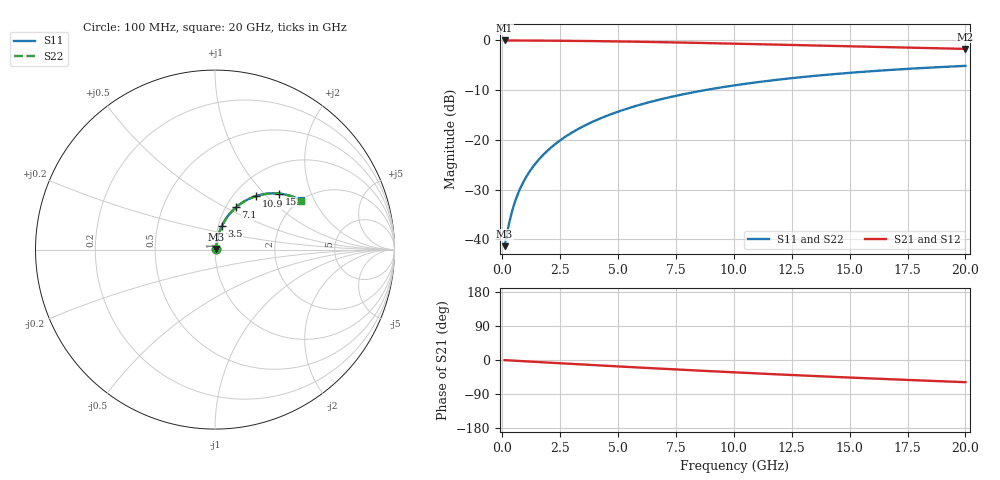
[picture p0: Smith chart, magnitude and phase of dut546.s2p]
! Touchstone file exported from HFSS 2026.1.0
!  File:  C:/ffzhzh/LocalFiles/Ansys_Project_Files/temp_train_TMRDL_546_1783007561_51716.aedt
!  Generated:  11:54:15 PM Jul  2, 2026
!  Design:  TMRDL
!  Project:  temp_train_TMRDL_546_1783007561_51716
! Variables:
!  h_bsmrdl = 2um
!  h_ox = 20um
!  h_rdl = 5um
!  h_sub = 80um
!  h_tmrdl = 3.15um
!  h_tsv = 80um
!  h_via = 3um
!  l_bsmrdl = 300um
!  l_sub = 1290.85um
!  l_tmrdl = 890.85um
!  m_sub = 200um
!  pitch = 40.29um
!  r_tsv = 6um
!  s_tmrdl = 10um
!  w_bsmrdl = 18um
!  w_sub = 500um
!  w_tmrdl = 13.4um
!  x_tsv_center1 = 897.55um
!  x_tsv_center2 = 1215.55um
!  x_tsv_center3 = 2119.8um
!  x_tsv_center4 = 2437.8um
!  x_tsv_center5 = 3342.05um
!  x_tsv_center6 = 3660.05um
# GHz S MA R 50.000000
! Terminal data exported
! Port[1] = TM_RDL1_1_T1
! Port[2] = TM_RDL1_1_T2
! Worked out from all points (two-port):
!   200 points, 100 MHz to 20 GHz, reference 50 ohm
!   highest |S21| = -0.07 dB at 100 MHz (marker M1); lowest = -1.8 dB at 20 GHz (marker M2)
!   |S21| within 3 dB of the highest: start of sweep to end of sweep
!   lowest |S11| = -41.4 dB at 100 MHz (marker M3), VSWR 1.02, Z = 50.8 + j0.423 ohm
!   |S11| at or under -10 dB: start of sweep to 8.796 GHz
!   |S22| runs from -41.4 to -5.2 dB; largest |S21 - S12| = 4.7e-15
!   S11 on the Smith chart (normalised r, x): 100 MHz: 1.02, +0.01; 3.5 GHz: 1.04, +0.28; 7.1 GHz: 1.11, +0.56; 10.9 GHz: 1.25, +0.87; 15.2 GHz: 1.51, +1.22; 20 GHz: 2.00, +1.58
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0.1  0.008557 29.1  0.9925 -0.4  0.9925 -0.4  0.008557 29.1
! Gamma 0 0 0 0
! Port Impedance 50 0 50 0
0.3  0.01469 57.2  0.9922 -1.1  0.9922 -1.1  0.01469 57.2
0.4  0.01834 63.1  0.992 -1.4  0.992 -1.4  0.01834 63.1
0.5  0.02208 66.8  0.9917 -1.8  0.9917 -1.8  0.02208 66.8
0.6  0.02586 69.4  0.9915 -2.1  0.9915 -2.1  0.02586 69.4
0.8  0.03347 72.6  0.991 -2.8  0.991 -2.8  0.03347 72.6
1  0.04112 74.4  0.9905 -3.5  0.9905 -3.5  0.04112 74.4
1.2  0.0488 75.4  0.9901 -4.2  0.9901 -4.2  0.0488 75.4
1.7  0.06806 76.5  0.9886 -5.9  0.9886 -5.9  0.06806 76.4
2.2  0.0873 76.3  0.9869 -7.6  0.9869 -7.6  0.0873 76.3
2.8  0.1102 75.4  0.9843 -9.6  0.9843 -9.6  0.1102 75.3
3.5  0.1367 73.8  0.9806 -12.0  0.9806 -12.0  0.1367 73.8
5  0.1916 69.7  0.9704 -17.0  0.9704 -17.0  0.1916 69.7
6.8  0.2535 64.5  0.955 -22.8  0.955 -22.8  0.2535 64.4
7.1  0.2633 63.6  0.9521 -23.7  0.9521 -23.7  0.2633 63.5
8.5  0.3073 59.5  0.938 -28.0  0.938 -28.0  0.3074 59.4
10.1  0.3537 54.9  0.9208 -32.8  0.9208 -32.8  0.3537 54.8
10.9  0.3753 52.6  0.9119 -35.1  0.9119 -35.1  0.3753 52.5
13.4  0.436 45.9  0.8838 -42.1  0.8838 -42.1  0.4361 45.7
15.2  0.4736 41.2  0.8641 -46.8  0.8641 -46.8  0.4737 41.1
16.7  0.5014 37.6  0.8484 -50.6  0.8484 -50.6  0.5014 37.4
20  0.5517 29.9  0.817 -58.5  0.817 -58.5  0.5519 29.7
